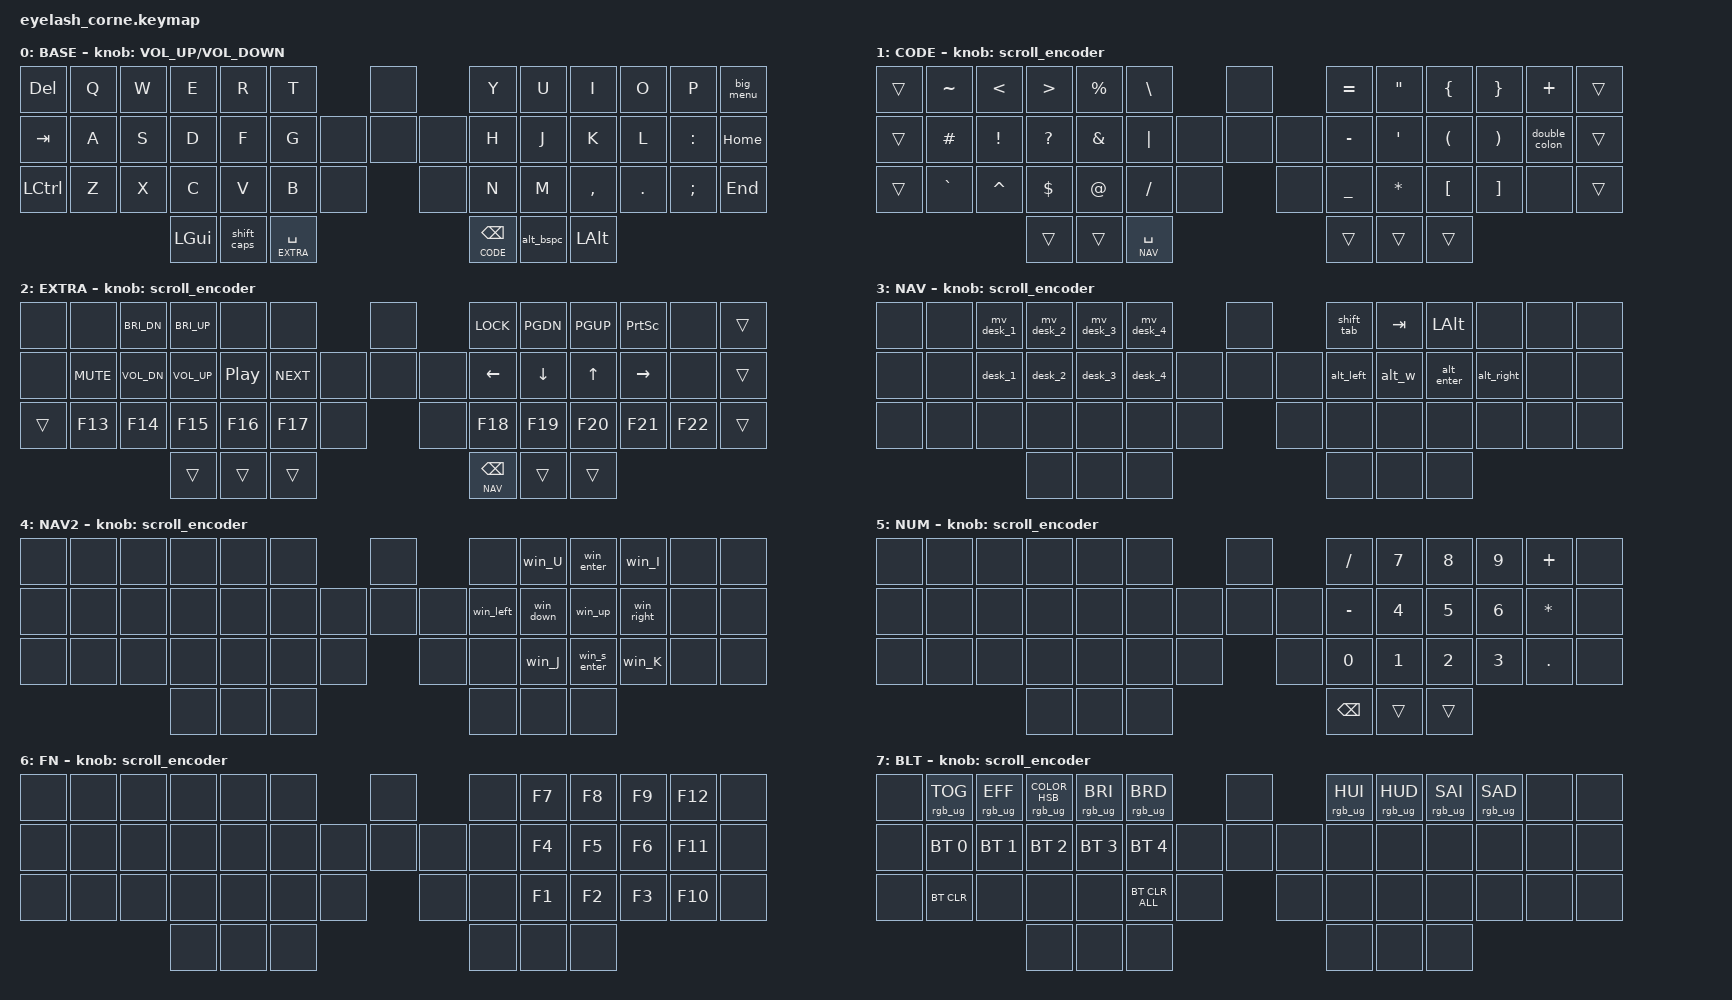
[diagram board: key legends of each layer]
#define ZMK_POINTING_DEFAULT_MOVE_VAL 1200  // 600
#define ZMK_POINTING_DEFAULT_SCRL_VAL 25    // 10

#include <input/processors.dtsi>
#include <zephyr/dt-bindings/input/input-event-codes.h>
#include <behaviors.dtsi>
#include <dt-bindings/zmk/bt.h>
#include <dt-bindings/zmk/ext_power.h>
#include <dt-bindings/zmk/keys.h>
#include <dt-bindings/zmk/outputs.h>
#include <dt-bindings/zmk/pointing.h>
#include <dt-bindings/zmk/rgb.h>

#define BASE    0
#define CODE    1
#define EXTRA   2
#define NAV     3
#define NAV2    4
#define NUM     5
#define FN      6
#define BLT     7

&mmv_input_listener { input-processors = <&zip_xy_scaler 2 1>; };

&msc_input_listener { input-processors = <&zip_scroll_scaler 2 1>; };

&msc {
    acceleration-exponent = <1>;      // 0
    time-to-max-speed-ms = <100>;     // 300
    delay-ms = <0>;                   // 0
};

&mmv {
    time-to-max-speed-ms = <500>;
    acceleration-exponent = <1>;
    trigger-period-ms = <16>;
};

/ {
    combos {
        compatible = "zmk,combos";
        combo_kj_esc {
            timeout-ms = <50>;
            key-positions = <23 24>; // J and K positions
            bindings = <&kp ESC>;
            layers = <0>;
        };
//        combo_mcomma_enter {
//            timeout-ms = <50>;
//            key-positions = <37 38>; // M and , positions
//            bindings = <&kp ENTER>;
//            layers = <0>;
//        };
        combo_three_enter {
            timeout-ms = <50>;
            key-positions = <23 24 25>; // J, K, and L positions
            bindings = <&kp ENTER>;
            layers = <0>;
        };
        combo_df_numpad {
            timeout-ms = <50>;
            key-positions = <16 17>; // D and F positions
            bindings = <&mo NUM>;
            layers = <0>;
        };
//        combo_cv_fn {
//            timeout-ms = <50>;
//            key-positions = <31 32>; // C and V positions
//            bindings = <&mo FN>;
//            layers = <0>;
//        };
        combo_sdf_fn {
            timeout-ms = <50>;
            key-positions = <15 16 17>; // S, D and F positions
            bindings = <&mo FN>;
            layers = <0>;
        };
        combo_asdf_nav2 {
            timeout-ms = <50>;
            key-positions = <14 15 16 17>; // A, S, D and F positions
            bindings = <&mo NAV2>;
            layers = <0>;
        };
        combo_zx_blt {
            timeout-ms = <50>;
            key-positions = <40 41>; // Z and X positions
            bindings = <&mo BLT>;
            layers = <0>;
        };
    };

    behaviors {
        shift_caps: shift_caps {
            compatible = "zmk,behavior-tap-dance";
            label = "TD_SHIFT_CAPS";
            #binding-cells = <0>;
            tapping-term-ms = <200>;
            bindings = <&kp LEFT_SHIFT>, <&led_caps_lock>;
        };
        f_nav2: f_nav2 {
            compatible = "zmk,behavior-tap-dance";
            label = "TD_F_NAV2";
            #binding-cells = <0>;
            tapping-term-ms = <200>;
            bindings = <&kp F>, <&sl NAV2>;
        };
        double_colon: double_colon {
            compatible = "zmk,behavior-macro";
            #binding-cells = <0>;
            wait-ms = <50>;
            bindings = <&kp COLON>, <&kp COLON>;
        };

        // big menu
        big_menu: big_menu {
            compatible = "zmk,behavior-macro";
            #binding-cells = <0>;
            wait-ms = <50>;
            bindings = <&macro_press &kp LALT>,
                <&macro_tap &kp SPACE>,
                <&macro_release &kp LALT>;
        };

        // desktop shortcuts
        desk_1: desk_1 {
            compatible = "zmk,behavior-macro";
            #binding-cells = <0>;
            wait-ms = <50>;
            bindings = <&macro_press &kp LALT>,
                <&macro_tap &kp N1>,
                <&macro_release &kp LALT>;
        };
        desk_2: desk_2 {
            compatible = "zmk,behavior-macro";
            #binding-cells = <0>;
            wait-ms = <50>;
            bindings = <&macro_press &kp LALT>,
                <&macro_tap &kp N2>,
                <&macro_release &kp LALT>;
        };    
        desk_3: desk_3 {
            compatible = "zmk,behavior-macro";
            #binding-cells = <0>;
            wait-ms = <50>;
            bindings = <&macro_press &kp LALT>,
                <&macro_tap &kp N3>,
                <&macro_release &kp LALT>;
        };    
        desk_4: desk_4 {
            compatible = "zmk,behavior-macro";
            #binding-cells = <0>;
            wait-ms = <50>;
            bindings = <&macro_press &kp LALT>,
                <&macro_tap &kp N4>,
                <&macro_release &kp LALT>;
        };    
        desk_5: desk_5 {
            compatible = "zmk,behavior-macro";
            #binding-cells = <0>;
            wait-ms = <50>;
            bindings = <&macro_press &kp LALT>,
                <&macro_tap &kp N5>,
                <&macro_release &kp LALT>;
        };
		mv_desk_1: mv_desk_1 {
			compatible = "zmk,behavior-macro";
			#binding-cells = <0>;
			wait-ms = <50>;
			bindings = <&macro_press &kp LALT>,
				<&macro_press &kp LSHIFT>,
				<&macro_tap &kp N1>,
				<&macro_release &kp LSHIFT>,
				<&macro_release &kp LALT>;
		};
		mv_desk_2: mv_desk_2 {
			compatible = "zmk,behavior-macro";
			#binding-cells = <0>;
			wait-ms = <50>;
			bindings = <&macro_press &kp LALT>,
				<&macro_press &kp LSHIFT>,
				<&macro_tap &kp N2>,
				<&macro_release &kp LSHIFT>,
				<&macro_release &kp LALT>;
		};
		mv_desk_3: mv_desk_3 {
			compatible = "zmk,behavior-macro";
			#binding-cells = <0>;
			wait-ms = <50>;
			bindings = <&macro_press &kp LALT>,
				<&macro_press &kp LSHIFT>,
				<&macro_tap &kp N3>,
				<&macro_release &kp LSHIFT>,
				<&macro_release &kp LALT>;
		};
		mv_desk_4: mv_desk_4 {
			compatible = "zmk,behavior-macro";
			#binding-cells = <0>;
			wait-ms = <50>;
			bindings = <&macro_press &kp LALT>,
				<&macro_press &kp LSHIFT>,
				<&macro_tap &kp N4>,
				<&macro_release &kp LSHIFT>,
				<&macro_release &kp LALT>;
		};

        win_enter: win_enter {
            compatible = "zmk,behavior-macro";
            #binding-cells = <0>;
            wait-ms = <50>;
            bindings = <&macro_press &kp LGUI>,
                <&macro_tap &kp ENTER>,
                <&macro_release &kp LGUI>;
        };
        win_s_enter: win_s_enter {
            compatible = "zmk,behavior-macro";
            #binding-cells = <0>;
            wait-ms = <50>;
            bindings = <&macro_press &kp LGUI>,
				<&macro_press &kp LSHIFT>,
                <&macro_tap &kp ENTER>,
                <&macro_release &kp LSHIFT>,
                <&macro_release &kp LGUI>;
        };
        win_up: win_up {
            compatible = "zmk,behavior-macro";
            #binding-cells = <0>;
            wait-ms = <50>;
            bindings = <&macro_press &kp LGUI>,
                <&macro_tap &kp UP>,
                <&macro_release &kp LGUI>;
        };
        win_right: win_right {
            compatible = "zmk,behavior-macro";
            #binding-cells = <0>;
            wait-ms = <50>;
            bindings = <&macro_press &kp LGUI>,
                <&macro_tap &kp RIGHT>,
                <&macro_release &kp LGUI>;
        };
        win_down: win_down {
            compatible = "zmk,behavior-macro";
            #binding-cells = <0>;
            wait-ms = <50>;
            bindings = <&macro_press &kp LGUI>,
                <&macro_tap &kp DOWN>,
                <&macro_release &kp LGUI>;
        };
        win_left: win_left {
            compatible = "zmk,behavior-macro";
            #binding-cells = <0>;
            wait-ms = <50>;
            bindings = <&macro_press &kp LGUI>,
                <&macro_tap &kp LEFT>,
                <&macro_release &kp LGUI>;
        };
        win_U: win_U {
            compatible = "zmk,behavior-macro";
            #binding-cells = <0>;
            wait-ms = <50>;
            bindings = <&macro_press &kp LGUI>,
                <&macro_tap &kp U>,
                <&macro_release &kp LGUI>;
        };
        win_I: win_I {
            compatible = "zmk,behavior-macro";
            #binding-cells = <0>;
            wait-ms = <50>;
            bindings = <&macro_press &kp LGUI>,
                <&macro_tap &kp I>,
                <&macro_release &kp LGUI>;
        };
        win_J: win_J {
            compatible = "zmk,behavior-macro";
            #binding-cells = <0>;
            wait-ms = <50>;
            bindings = <&macro_press &kp LGUI>,
                <&macro_tap &kp J>,
                <&macro_release &kp LGUI>;
        };
        win_K: win_K {
            compatible = "zmk,behavior-macro";
            #binding-cells = <0>;
            wait-ms = <50>;
            bindings = <&macro_press &kp LGUI>,
                <&macro_tap &kp K>,
                <&macro_release &kp LGUI>;
        };
        shift_tab: shift_tab {
            compatible = "zmk,behavior-macro";
            #binding-cells = <0>;
            wait-ms = <50>;
            bindings = <&macro_press &kp LSHIFT>,
                <&macro_tap &kp TAB>,
                <&macro_release &kp LSHIFT>;
        };
        alt_tab: alt_tab {
            compatible = "zmk,behavior-macro";
            #binding-cells = <0>;
            wait-ms = <50>;
            bindings = <&macro_press &kp LALT>,
                <&macro_tap &kp TAB>,
                <&macro_release &kp LALT>;
        };
        alt_left: alt_left {
            compatible = "zmk,behavior-macro";
            #binding-cells = <0>;
            wait-ms = <50>;
            bindings = <&macro_press &kp LALT>,
                <&macro_tap &kp LEFT>,
                <&macro_release &kp LALT>;
        };
        alt_right: alt_right {
            compatible = "zmk,behavior-macro";
            #binding-cells = <0>;
            wait-ms = <50>;
            bindings = <&macro_press &kp LALT>,
                <&macro_tap &kp RIGHT>,
                <&macro_release &kp LALT>;
        };
        alt_enter: alt_enter {
            compatible = "zmk,behavior-macro";
            #binding-cells = <0>;
            wait-ms = <50>;
            bindings = <&macro_press &kp LALT>,
                <&macro_tap &kp ENTER>,
                <&macro_release &kp LALT>;
        };
        alt_w: alt_w {
            compatible = "zmk,behavior-macro";
            #binding-cells = <0>;
            wait-ms = <50>;
            bindings = <&macro_press &kp LALT>,
                <&macro_tap &kp W>,
                <&macro_release &kp LALT>;
        };
        alt_bspc: alt_bspc {
            compatible = "zmk,behavior-macro";
            #binding-cells = <0>;
            wait-ms = <50>;
            bindings = <&macro_press &kp LALT>,
                <&macro_tap &kp BSPC>,
                <&macro_release &kp LALT>;
        };
        ctrl_bspc: ctrl_bspc {
            compatible = "zmk,behavior-macro";
            #binding-cells = <0>;
            wait-ms = <50>;
            bindings = <&macro_press &kp LCTRL>,
                <&macro_tap &kp BSPC>,
                <&macro_release &kp LCTRL>;
        };
		led_caps_lock: led_caps_lock {
            compatible = "zmk,behavior-macro";
            #binding-cells = <0>;
            wait-ms = <50>;
            bindings = <&macro_tap &kp CAPS>,
                <&macro_tap &rgb_ug RGB_TOG>;
        };
    };

    rgb_encoder: rgb_encoder {
        compatible = "zmk,behavior-sensor-rotate";
        #sensor-binding-cells = <0>;
        bindings = <&rgb_ug RGB_BRI>, <&rgb_ug RGB_BRD>;
    };

    scroll_encoder: scroll_encoder {
        compatible = "zmk,behavior-sensor-rotate";
        #sensor-binding-cells = <0>;
        bindings = <&msc SCRL_DOWN>, <&msc SCRL_UP>;
        tap-ms = <100>;
    };

    keymap {
        compatible = "zmk,keymap";

        base_layer {
            display-name = "BASE";
            bindings = <
&kp DEL    &kp Q     &kp W      &kp E     &kp R			&kp T                                  &none                       &kp Y           &kp U        &kp I      &kp O    &kp P       &big_menu
&kp TAB    &kp A     &kp S      &kp D     &kp F			&kp G                           &none  &none    &none              &kp H           &kp J        &kp K      &kp L    &kp COLON   &kp HOME
&kp LCTRL  &kp Z     &kp X      &kp C     &kp V			&kp B            &none                 &none                       &kp N           &kp M        &kp COMMA  &kp DOT  &kp SEMI    &kp END
                                &kp LGUI  &shift_caps   &lt EXTRA SPACE                                                    &lt CODE BSPC   &alt_bspc    &kp LALT
            >;
            sensor-bindings = <&inc_dec_kp C_VOLUME_UP C_VOLUME_DOWN>;
        };

        code_layer {
            display-name = "CODE";
            bindings = <
&trans    &kp TILDE   &kp LT        &kp GT      &kp PERCENT    &kp BSLH                                 &none                   &kp EQUAL        &kp DQT      &kp LBRC   &kp RBRC  &kp PLUS      &trans   
&trans    &kp HASH    &kp EXCL      &kp QMARK   &kp AMPS       &kp PIPE                        &none    &none    &none          &kp MINUS        &kp SQT      &kp LPAR   &kp RPAR  &double_colon &trans   
&trans    &kp GRAVE   &kp CARET     &kp DOLLAR  &kp AT         &kp FSLH            &none                &none                   &kp UNDER        &kp STAR     &kp LBKT   &kp RBKT  &none         &trans   
                                    &trans      &trans         &lt NAV SPACE                                                    &trans           &trans       &trans
            >;
            sensor-bindings = <&scroll_encoder>;
        };

        extra_layer {
            display-name = "EXTRA";
            bindings = <
&none     &none            &kp C_BRI_DN	 &kp C_BRI_UP   &none           &none                                   &none                 &kp K_LOCK	   &kp PGDN    &kp PGUP  &kp PSCRN  &none	  &trans
&none     &kp C_MUTE	   &kp C_VOL_DN  &kp C_VOL_UP   &kp C_PP        &kp C_NEXT                     &none    &none    &none        &kp LEFT  	   &kp DOWN    &kp UP    &kp RIGHT  &none      &trans
&trans    &kp F13          &kp F14       &kp F15        &kp F16         &kp F17			&none				    &none				  &kp F18   	   &kp F19     &kp F20   &kp F21    &kp F22    &trans
									     &trans		    &trans          &trans														  &lt NAV BSPC     &trans      &trans
            >;
            sensor-bindings = <&scroll_encoder>;
        };

        nav_layer {
            display-name = "NAV";
            bindings = <
&none     &none       &mv_desk_1 &mv_desk_2 &mv_desk_3 &mv_desk_4                              &none                   &shift_tab  &kp TAB   &kp LALT   &none      &none     &none
&none     &none       &desk_1    &desk_2    &desk_3    &desk_4                          &none  &none    &none          &alt_left   &alt_w    &alt_enter &alt_right &none     &none
&none     &none       &none      &none      &none      &none                 &none             &none                   &none       &none     &none      &none      &none     &none
                                 &none      &none      &none                                                           &none     &none     &none
            >;
            sensor-bindings = <&scroll_encoder>;
        };

        nav2_layer {
            display-name = "NAV2";
            bindings = <
&none     &none     &none      &none      &none       &none                           &none                   &none         &win_U        &win_enter    &win_I         &none      &none
&none     &none     &none      &none      &none       &none                    &none  &none    &none          &win_left     &win_down     &win_up       &win_right     &none      &none
&none     &none     &none      &none      &none       &none         &none             &none                   &none         &win_J        &win_s_enter  &win_K         &none      &none
                               &none      &none       &none                                                   &none         &none         &none
            >;
            sensor-bindings = <&scroll_encoder>;
        };

        numpad_layer {
            display-name = "NUM";
            bindings = <
&none     &none     &none      &none      &none       &none                              &none					&kp FSLH    &kp N7     &kp N8     &kp N9     &kp PLUS   &none
&none     &none     &none      &none      &none       &none                     &none    &none    &none         &kp MINUS	&kp N4     &kp N5     &kp N6     &kp STAR   &none
&none     &none     &none      &none      &none       &none            &none             &none					&kp N0      &kp N1     &kp N2     &kp N3     &kp DOT    &none
                               &none      &none       &none                                                     &kp BSPC    &trans     &trans
            >;
            sensor-bindings = <&scroll_encoder>;
        };

        fn_layer {
            display-name = "FN";
            bindings = <
&none     &none     &none      &none      &none       &none                                    &none                         &none       &kp F7     &kp F8     &kp F9     &kp F12    &none
&none     &none     &none      &none      &none       &none                           &none    &none    &none                &none       &kp F4     &kp F5     &kp F6     &kp F11    &none
&none     &none     &none      &none      &none       &none            &none                   &none                         &none       &kp F1     &kp F2     &kp F3     &kp F10    &none
                               &none      &none       &none                                                                  &none       &none      &none
            >;
            sensor-bindings = <&scroll_encoder>;
        };

        blt_layer {
            display-name = "BLT";
            bindings = <
&none    &rgb_ug RGB_TOG  &rgb_ug RGB_EFF  &rgb_ug RGB_COLOR_HSB(0,0,100)  &rgb_ug RGB_BRI    &rgb_ug RGB_BRD                  &none                    &rgb_ug RGB_HUI       &rgb_ug RGB_HUD         &rgb_ug RGB_SAI        &rgb_ug RGB_SAD       &none     &none
&none    &bt BT_SEL 0     &bt BT_SEL 1     &bt BT_SEL 2                    &bt BT_SEL 3       &bt BT_SEL 4             &none   &none    &none           &none       &none         &none        &none       &none     &none
&none    &bt BT_CLR       &none            &none                           &none              &bt BT_CLR_ALL      &none        &none                    &none       &none         &none        &none       &none     &none
                          &none            &none                           &none                                                                        &none       &none         &none
            >;
            sensor-bindings = <&scroll_encoder>;
        };
    };
};
